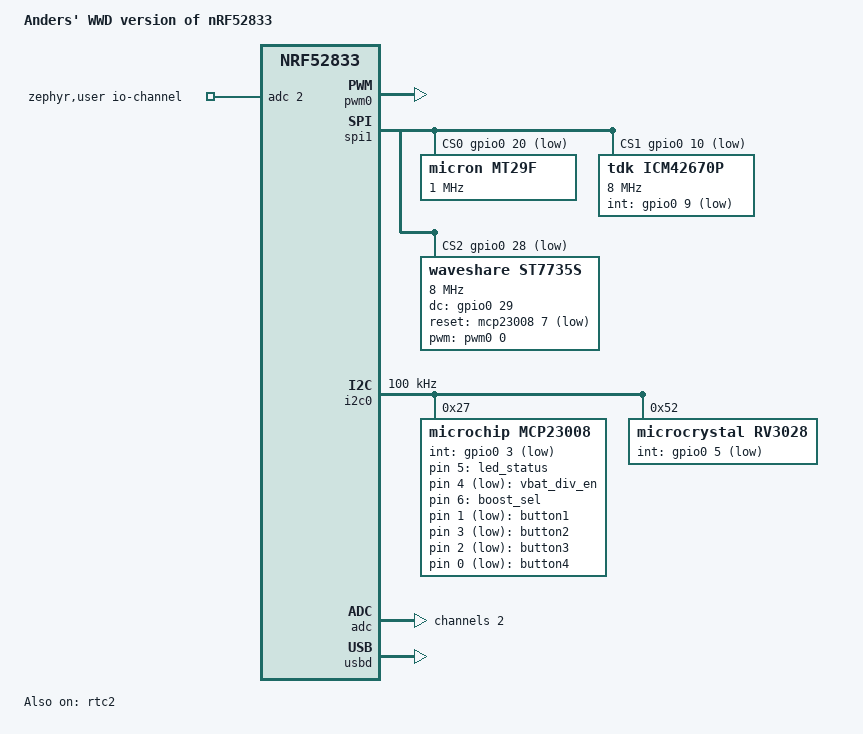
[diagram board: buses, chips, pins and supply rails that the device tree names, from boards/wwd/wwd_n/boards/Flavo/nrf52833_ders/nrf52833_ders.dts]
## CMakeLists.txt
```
cmake_minimum_required(VERSION 3.20.0)
find_package(Zephyr REQUIRED HINTS $ENV{ZEPHYR_BASE})
project(WWDn)

# Power-profiling harness (src/power_profile/power_profile_main.c) in place
# of the real app's src/main.c — see debug/power_profile/README.md.
# Build with: cmake ... -DPOWER_PROFILE_BUILD=ON
option(POWER_PROFILE_BUILD "Build the power-profiling harness instead of the real app" OFF)

# UI function test harness (test/test_uifunctions.c) in place of the real
# app's src/main.c — see test/README.md. Build with: cmake ... -DBUILD_UI_TESTS=ON
option(BUILD_UI_TESTS "Build the UI function test harness instead of the real app" OFF)

# VBAT-sweep hold mode for the power-profiling harness. Set to 0 or 1 to build
# an image that skips the scripted sequence and instead parks the board in one
# quiet state with BOOST_SEL held at that level, so the host can sweep VBAT
# underneath it. Empty (default) = run the normal 21-state sequence.
# Build with: cmake ... -DPOWER_PROFILE_BUILD=ON -DPOWER_PROFILE_BOOST_HOLD=1
# Additive attribution mode: start with nothing initialised and bring one
# subsystem up per dwell, to find what owns the idle floor.
# Build with: cmake ... -DPOWER_PROFILE_BUILD=ON -DPOWER_PROFILE_TEARDOWN=ON
option(POWER_PROFILE_TEARDOWN "Build the additive teardown/attribution image" OFF)

# Probe image: isolates what owns the idle floor (bare_spin vs bare_idle) and
# what the IMU gyro costs (accel_only vs accel_plus_gyro).
# Build with: cmake ... -DPOWER_PROFILE_BUILD=ON -DPOWER_PROFILE_PROBE=ON
option(POWER_PROFILE_PROBE "Build the idle-floor / gyro probe image" OFF)

# BLE image: cost of the advertiser (scripted) plus the cost of a live
# connection and data transfer (host-driven, board holds advertising).
# Build with: cmake ... -DPOWER_PROFILE_BUILD=ON -DPOWER_PROFILE_BLE=ON
option(POWER_PROFILE_BLE "Build the BLE advertising / connection power image" OFF)

set(POWER_PROFILE_BOOST_HOLD "" CACHE STRING
    "0 or 1 to build a BOOST_SEL hold-mode image for VBAT sweeps; empty = normal sequence")

# Include all headers under src
zephyr_include_directories(${CMAKE_CURRENT_SOURCE_DIR}/src)

# Collect all .c files recursively
file(GLOB_RECURSE SRC_FILES "${CMAKE_CURRENT_SOURCE_DIR}/src/*.c")

if(POWER_PROFILE_BUILD)
    target_sources(app PRIVATE src/power_profile/power_profile_main.c)
    if(POWER_PROFILE_PROBE)
        target_compile_definitions(app PRIVATE PP_PROBE=1)
    endif()
    if(POWER_PROFILE_TEARDOWN)
        target_compile_definitions(app PRIVATE PP_TEARDOWN=1)
    endif()
    if(POWER_PROFILE_BLE)
        target_compile_definitions(app PRIVATE PP_BLE=1)
    endif()
    if(NOT POWER_PROFILE_BOOST_HOLD STREQUAL "")
        target_compile_definitions(app PRIVATE PP_BOOST_HOLD=${POWER_PROFILE_BOOST_HOLD})
    endif()
elseif(BUILD_UI_TESTS)
    target_sources(app PRIVATE test/test_uifunctions.c)
else()
    target_sources(app PRIVATE src/main.c)
endif()

# Compile all of them
target_sources(app PRIVATE
    src/circular_buffer.c
    src/peripheral/clock.c
    src/peripheral/interrupt.c
    src/peripheral/timer.c
    src/peripheral/rtc.c
    src/peripheral/rv3028.c
    src/peripheral/rv3028_bringup.c
    src/peripheral/soc_temp.c
    src/activity/activity.c
    src/hardware/led.c
    src/hardware/button.c
    src/power/power.c
    src/power/low_power.c
    src/util/cdc_debug.c
    src/util/series.c
    src/util/steps_day.c
)

add_subdirectory(src/display)
add_subdirectory(src/memory)
add_subdirectory(src/ui)
add_subdirectory(src/hardware/ic/imu)
add_subdirectory(src/ble)
add_subdirectory(src/comm)
```

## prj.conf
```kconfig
# set clocking
# nRF52833 hardware has a 32kHz crystal on P0.00/P0.01 — use XTAL for accuracy.
# The board defconfig sets XTAL=y/RC=n, but prj.conf overrides take precedence,
# so these must be explicit here.
# BRING-UP 2026-07-23: the 32kHz crystal is NOT oscillating on this board —
# LFCLKSTAT reads SRC=RC and EVENTS_LFCLKSTARTED never fires, so boot hangs
# forever in lfclk_spinwait() at PRE_KERNEL_2 and never reaches main().
# Running on the internal RC until the XTAL is fixed in hardware.
# Restore these three lines once the crystal is verified:
#CONFIG_CLOCK_CONTROL_NRF_K32SRC_XTAL=y
#CONFIG_CLOCK_CONTROL_NRF_K32SRC_RC=n
#CONFIG_CLOCK_CONTROL_NRF_K32SRC_RC_CALIBRATION=n
# BRING-UP 2026-07-25: no crystal is populated on this board at all. Instead
# RV-3028 RTC_CLKOUT drives XL1 (P0.00) at 32.768 kHz — verified on SN2 by
# counting edges on P0.00 (~32.4 kHz measured, polling-loop error accounts for
# the shortfall) with CLKOUT reg 0x35 = 0xC0 (CLKOE=1, FD=0). CLKOUT is stored
# in the RV-3028's EEPROM, so it runs from POR without needing I2C first.
# FULL_SWING (not LOW_SWING) because CLKOUT is a push-pull CMOS output.
# Revert to the RC lines below if the LF source is ever lost.
# BRING-UP 2026-07-27: chased a silent boot hang most of a session, initially
# blamed on this EXT_FULL_SWING/CLKOUT hand-off (LFCLKSTAT was observed
# flipping SRC mid-run). Forcing RC + disabling RC_CALIBRATION here did NOT
# fix it — real cause turned out to be the MCP23008 driver's auto-init
# (see nrf52833_ders.dts, mcp23008 node disabled) corrupting a kernel
# spinlock when its I2C write NACKs (device not populated on this board).
# Restoring the original CLKOUT config now that the actual cause is disabled
# — see nvs_notes.md / thread_bringup_crash memory for the full story.
CONFIG_CLOCK_CONTROL_NRF_K32SRC_RC=n
CONFIG_CLOCK_CONTROL_NRF_K32SRC_XTAL=n
CONFIG_CLOCK_CONTROL_NRF_K32SRC_EXT_FULL_SWING=y
# BISECT 2026-07-27 (session 2): re-tested with RC_CALIBRATION=y now that
# MCP23008 is disabled — still hangs (same idle/spinlock signature, ~4s in,
# right after display_phase() before nvs_phase()). So RC calibration is a
# second, independent contributor, not just a red herring from the MCP bug.
# Leave off until this is understood separately.
CONFIG_CLOCK_CONTROL_NRF_K32SRC_RC_CALIBRATION=n
# The default clock startup policy is SYSTEM_CLOCK_WAIT_FOR_STABILITY, which
# spins in lfclk_spinwait() until the *target* source is the running one — that
# is what hung boot on 2026-07-23 with the dead crystal, and it would equally
# hang a board whose RV-3028 has no CLKOUT programmed yet.
# WAIT_FOR_AVAILABILITY instead uses nrfx's two-stage LFXO start: LFCLK comes up
# on the internal RC immediately, boot continues, and the hardware switches to
# RTC_CLKOUT when it is ready. If CLKOUT never appears the system just keeps
# running on the RC. One image boots any board, and clock_control still knows
# the real source — which matters for BLE's LF accuracy.
CONFIG_SYSTEM_CLOCK_WAIT_FOR_AVAILABILITY=y

# BISECT 2026-07-27 (session 2): even with MCP23008 disabled and RC_CALIBRATION
# off, a rare k_msleep()-never-wakes hang can still happen at effectively any
# sleep call site (caught one inside cdc_write()'s k_msleep(5), nothing
# special about it) — looks like a genuine race in the tickless-kernel RTC1
# tick/timeout path rather than anything driver-specific. Testing periodic
# tick instead of tickless to see if it sidesteps the race. Revert to
# tickless (delete this line) if it doesn't help — periodic ticking costs
# more power, only worth keeping if it actually fixes this.
CONFIG_TICKLESS_KERNEL=n

# Pinned explicitly (was an unset default that happened to resolve to 128)
# because dump_decoder.py in the companion wwd_gui_api repo hardcodes this
# rate to reconstruct seconds_since_boot from on-flash dt_ticks — a silent
# change here would desync that conversion again. See dump_decoder.py's
# TICKS_PER_SEC constant if this ever needs to change.
CONFIG_SYS_CLOCK_TICKS_PER_SEC=128

# enable peripherals
CONFIG_COUNTER=y
CONFIG_GPIO=y
CONFIG_SPI=y
CONFIG_I2C=y
CONFIG_ADC=y
CONFIG_NRFX_SAADC=y
CONFIG_PWM=y
CONFIG_RTC=y
CONFIG_RTC_RV3028=y
# CONFIG_SOC_NRF52832_ALLOW_SPIM_DESPITE_PAN_58=n

# USB CDC console (nRF52833 hardware — no UART pins on QDAA package)
# CONFIG_SERIAL=y is required to enable the UART subsystem that CDC ACM depends on,
# even though there is no physical UART on this board.
CONFIG_SERIAL=y
CONFIG_USB_DEVICE_STACK=y
CONFIG_USB_CDC_ACM=y
CONFIG_UART_LINE_CTRL=y
# cdc_acm_uart1 (src/comm/protocol.c binary command channel) needs interrupt-driven
# RX — the console on cdc_acm_uart0 stays polled/log-only and doesn't need this.
CONFIG_UART_INTERRUPT_DRIVEN=y
# BRING-UP 2026-07-23: init USB explicitly from main() instead of at boot, so the
# usb_enable() return code and the status callback can be logged. Restore to =y
# once enumeration is working:
#CONFIG_USB_DEVICE_INITIALIZE_AT_BOOT=y
CONFIG_USB_DEVICE_INITIALIZE_AT_BOOT=n

# enable console for output
CONFIG_CONSOLE=y
CONFIG_UART_CONSOLE=y
CONFIG_NEWLIB_LIBC=y
CONFIG_NEWLIB_LIBC_FLOAT_PRINTF=y

# configure log
CONFIG_LOG=y
# BRING-UP 2026-07-23: the console IS the USB CDC port, so it cannot report its
# own enumeration failure. Log over SEGGER RTT through the J-Link instead
# (read with: JLinkRTTClient, or debug/rtt_log.sh). Restore UART backend and
# drop the RTT block once USB CDC enumerates:
#CONFIG_LOG_BACKEND_UART=y
# NVS BRING-UP 2026-07-26: USB CDC is proven, and nvs_dump() output must be
# readable on the CDC console — UART backend restored per the note above.
# RTT kept as a second backend (was unreadable last session, but harmless).
CONFIG_LOG_BACKEND_UART=y
CONFIG_USE_SEGGER_RTT=y
CONFIG_LOG_BACKEND_RTT=y
# NVS BRING-UP 2026-07-26: USB DBG logs would feed back through the CDC log
# backend (log -> USB traffic -> more logs). Cut to ERR while logs ride USB:
#CONFIG_USB_DEVICE_LOG_LEVEL_DBG=y
#CONFIG_USB_DRIVER_LOG_LEVEL_DBG=y
CONFIG_USB_DEVICE_LOG_LEVEL_ERR=y
CONFIG_USB_DRIVER_LOG_LEVEL_ERR=y
    # log level (0=none, 1=ERR, 2=WRN, 3=INF, 4=DBG)
CONFIG_LOG_DEFAULT_LEVEL=3
CONFIG_KERNEL_LOG_LEVEL_INF=y
CONFIG_SPI_LOG_LEVEL_INF=y
#CONFIG_LOG_BUFFER_SIZE=2048

# enable higher-level systems
CONFIG_SENSOR=y
# nRF52833 on-die temperature sensor (src/peripheral/soc_temp.c). The `temp`
# node is already status="okay" in NCS's nrf52833.dtsi, so this Kconfig is the
# only thing needed — without it the device exists but never binds a driver.
CONFIG_TEMP_NRF5=y
CONFIG_DISPLAY=n

# Bluetooth — uncomment to enable; call ble_init() in main.c
# CONFIG_BT=y
# CONFIG_BT_PERIPHERAL=y
# CONFIG_BT_DEVICE_NAME="WWD"
# CONFIG_BT_DEVICE_APPEARANCE=192
# CONFIG_BT_MAX_CONN=1
# CONFIG_BT_SMP=y

# ENABLED 2026-08-25 (src/ble/ble.c). The block above is kept verbatim as the
# original intent note; the live settings follow. Measured cost on this tree:
# +136 KB flash, +17.7 KB RAM. It only fits because prj.conf is -Os now — on
# the old unoptimized build the image overflowed the 512 KB part and would not
# link at all.
CONFIG_BT=y
CONFIG_BT_PERIPHERAL=y
CONFIG_BT_DEVICE_NAME="WWD-n"
CONFIG_BT_DEVICE_APPEARANCE=192
CONFIG_BT_MAX_CONN=1
# Peripheral only — this device never scans or connects outward, and dropping
# the central role saves flash.
CONFIG_BT_CENTRAL=n
CONFIG_BT_OBSERVER=n
# GATT server with a custom service; needs writable attributes for the
# time-set characteristic.
CONFIG_BT_GATT_DYNAMIC_DB=n
# No pairing/bonding yet: nothing here is sensitive, and SMP costs flash and a
# UX (passkey entry) this device has no keypad for. Revisit before the
# time-set characteristic is trusted from an untrusted phone.
CONFIG_BT_SMP=n
# Long enough for the 19-byte status notification in one packet.
CONFIG_BT_BUF_ACL_TX_SIZE=27
CONFIG_BT_L2CAP_TX_MTU=23
# BLE's own threads. Left at defaults deliberately — see debug/stack_budget.md
# for why stack sizes on this project are measured, not guessed; re-run
# stackcheck.conf after enabling this.

# enable kernel features for RTOS threading
CONFIG_POLL=y

# enable CRC for NVS metadata integrity
CONFIG_CRC=y

# enable heap memory allocation for k_malloc
CONFIG_HEAP_MEM_POOL_SIZE=4096


# BRING-UP 2026-07-23: default 1024 overflowed during POST_KERNEL/APPLICATION
# driver init (USB device stack + SPI + I2C/MCP23008) with NO_OPTIMIZATIONS=y —
# stack sentinel tripped with PC inside z_main_stack before main() ever ran.
CONFIG_MAIN_STACK_SIZE=4096

# BRING-UP 2026-07-23 (afternoon): same disease as MAIN_STACK_SIZE above — the USB
# workqueue threads overflow their default 1024 B stacks with NO_OPTIMIZATIONS=y +
# USB DBG logging. Usage fault with the exception frame at the bottom of
# usbd_work_queue_stack, then an assert/log recursion wedge, all before USBPULLUP
# is ever set (board is bus-powered, so VBUS events start the instant usb_enable()
# runs). Defaults are likely fine once NO_OPTIMIZATIONS/DBG logging are reverted.
CONFIG_USB_WORKQUEUE_STACK_SIZE=4096
CONFIG_USB_NRFX_WORK_QUEUE_STACK_SIZE=4096

# 2026-08-01: same disease as the USB workqueue bumps above, this time on the
# default SYSTEM workqueue. The MCP23008 GPIO driver defers its interrupt
# handling (mcp23xxx_work_handler — I2C reads to figure out which button pin
# changed, dispatch the per-pin callback) onto k_sys_work_q, whose default
# stack (~1024 B) overflows under NO_OPTIMIZATIONS. Caught live via GDB:
# CFSR=0x92 (MemManage, MSTKERR — MPU stack-guard hit during exception
# stacking), MMFAR pointing at the very base of sys_work_q_stack. This is
# the actual cause of the board resetting on every real button press —
# button_handler_thread/ui_refresh_thread stack bumps and display-code
# locking earlier today were legitimate fixes for other latent bugs but
# didn't touch this thread.
CONFIG_SYSTEM_WORKQUEUE_STACK_SIZE=4096

# fucking memory debug
CONFIG_STACK_SENTINEL=y
CONFIG_ASSERT=y
CONFIG_THREAD_STACK_INFO=y
CONFIG_THREAD_MONITOR=y
CONFIG_ASSERT_VERBOSE=y
CONFIG_INIT_STACKS=y # this one is for printing thread stack space (or one of ones required?)


# Build with debug symbols
# PRODUCTION BUILD 2026-08-24: these two are now the DEBUG setting, not the
# default. Measured on this tree at e13f8aa: NO_OPTIMIZATIONS costs 212 KB of
# flash (403,453 B / 77.0% of the part, vs 190,560 B / 36.4% at -Os) and burns
# CPU continuously. It also makes BLE physically impossible — the BT peripheral
# stack is +136 KB, and 403K + 136K overflows the 512 KB part, so it will not
# link. Restore these two lines (or better, build with debug.conf, which does
# exactly that) whenever single-stepping matters more than size:
#CONFIG_DEBUG_OPTIMIZATIONS=y
#CONFIG_NO_OPTIMIZATIONS=y
#
# -Os rather than -O2: flash is the constrained resource here, not cycles.
# The stack-usage risk this creates is real and is why the "fucking memory
# debug" block above (STACK_SENTINEL / ASSERT / INIT_STACKS) stays ON in
# production for now — those are the net under exactly this change. See
# debug/stack_budget.md for the measured high-water marks.
CONFIG_SIZE_OPTIMIZATIONS=y

# Internal-flash settings store (src/memory/config_store.c).
# Rate config used to live on the MT29F's CONFIG blocks, which meant a chip
# erase destroyed it and boards without a working NAND (SN1, SN2) could not
# persist settings at all. It now lives in the storage_partition already
# declared in the board DTS (24 KB @ 0x7a000, previously unused), so the NAND
# is data only.
# Deliberately NOT CONFIG_NVS: this project has its own nvs_*() API for the
# NAND logger, and pulling Zephyr's in alongside it invites name confusion.
CONFIG_FLASH=y
CONFIG_FLASH_MAP=y
CONFIG_MPU_ALLOW_FLASH_WRITE=y
```

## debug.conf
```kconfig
# debug.conf — overlay that restores the pre-2026-08-24 unoptimized build.
#
# prj.conf is now the production baseline (CONFIG_SIZE_OPTIMIZATIONS=y). Layer
# this on top whenever you need to single-step: at -Os, GCC reorders and inlines
# aggressively, locals live in registers rather than on the stack, and GDB will
# report <optimized out> for variables that were readable before.
#
#   cmake -B build_dbg -DBOARD=nrf52833_ders/nrf52833 \
#         -DBOARD_ROOT=/home/anders/Documents/NCS/WWD-n \
#         -DEXTRA_CONF_FILE=debug.conf -GNinja
#   cmake --build build_dbg
#
# Cost, measured on tree e13f8aa: +212 KB of flash (36.4% -> 77.0% of the part).
# A build with this overlay CANNOT also enable Bluetooth — the two together
# overflow the 512 KB part and will not link.
#
# CLAUDE.md's "always do a pristine build" rule applies: use a separate build
# directory rather than reconfiguring an existing one.

CONFIG_SIZE_OPTIMIZATIONS=n
CONFIG_DEBUG_OPTIMIZATIONS=y
CONFIG_NO_OPTIMIZATIONS=y
```

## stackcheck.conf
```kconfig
# stackcheck.conf — overlay that reports live thread stack high-water marks.
#
# Layer this on ANY build whose stack budget you want to validate — most
# importantly after changing optimization level, which shifts stack usage and
# has caused a hard-to-diagnose overflow on this project before (see
# CONFIG_SYSTEM_WORKQUEUE_STACK_SIZE and CONFIG_MAIN_STACK_SIZE in prj.conf,
# both of which exist because of exactly that).
#
#   cmake -B build_stackcheck -DBOARD=nrf52833_ders/nrf52833 \
#         -DBOARD_ROOT=/home/anders/Documents/NCS/WWD-n \
#         -DEXTRA_CONF_FILE=stackcheck.conf -GNinja
#   cmake --build build_stackcheck
#
# The analyzer prints every thread — including the ones the application does
# not create (main, idle, sysworkq, the two USB workqueues, logging) — every
# 15 s over the console. Those system threads are the ones that bit us before,
# so read the whole table, not just the four app threads.
#
# Exercise the device while it runs: press every button, walk the whole menu,
# let the display sleep and wake, run a USB dump. Peak stack is only as high as
# the deepest path you actually took.
#
# This overlay costs flash and RAM of its own (~2 KB stack for the analyzer
# thread) — it is a measurement tool, never part of a shipped image.

CONFIG_THREAD_NAME=y
CONFIG_THREAD_ANALYZER=y
CONFIG_THREAD_ANALYZER_USE_LOG=y
CONFIG_THREAD_ANALYZER_AUTO=y
CONFIG_THREAD_ANALYZER_AUTO_INTERVAL=15
CONFIG_THREAD_ANALYZER_AUTO_STACK_SIZE=2048

# RTT up-buffer: the default 1024 B with NO_BLOCK_SKIP silently DROPS most of
# the analyzer's burst (measured 2026-08-24 on SN1 — only 1 of ~6 report cycles
# survived, and individual threads went missing from the table mid-report).
# The analyzer prints two lines per thread across ~11 threads at once, which is
# several KB in one go. 8192 costs RAM this build has spare.
CONFIG_SEGGER_RTT_BUFFER_SIZE_UP=8192

# Log buffer: the REAL reason analyzer rows go missing (diagnosed 2026-08-24 on
# SN1 — ui_refresh and button_handler were absent from every report while
# sensor_update and protocol appeared, with "--- N messages dropped ---" in the
# stream). The default 1024 B cannot hold one analyzer burst, so Zephyr's
# logging subsystem drops the tail of each report BEFORE it reaches any backend.
# Widening RTT alone does not fix this. prj.conf keeps a commented-out
# CONFIG_LOG_BUFFER_SIZE=2048 line; 2048 is still not enough for this burst.
CONFIG_LOG_BUFFER_SIZE=8192
```

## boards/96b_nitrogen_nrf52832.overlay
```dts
&spi1 {
    mt29f: mt29f@0 {
        compatible = "micron,mt29f";
        reg = <0>;
        label = "MT29F";
        spi-max-frequency = <4000000>;
        frame-format = <0>;
        status = "okay";
    };

    icm42670p: icm42670p@1 {
        compatible = "tdk,icm42670p";
		// compatible = "invensense,icm42670p";
		reg = <1>;
		spi-max-frequency = <4000000>; /* Reduced to 8MHz for stability */
        int-gpios = <&gpio0 9 GPIO_ACTIVE_HIGH>, <&gpio0 3 GPIO_ACTIVE_HIGH>;

		/* Required properties based on binding file */
        // TODO: have these actually do something?
		accel-hz = <100>;    /* Reduced to 100 Hz for initial testing */
		gyro-hz = <100>;     /* Reduced to 100 Hz for initial testing */
		accel-fs = <2>;      /* Reduced to ±2g for initial testing */
		gyro-fs = <250>;     /* Reduced to 250 dps for initial testing */

        status = "okay";
	};

    st7789v2: st7789v2@2 {
        compatible = "waveshare,st7789v2";
        reg = <2>;
        spi-max-frequency = <8000000>;
        dc-gpios = <&gpio0 22 GPIO_ACTIVE_HIGH>;
        reset-gpios = <&gpio0 24 GPIO_ACTIVE_LOW>;
        bl-gpios = <&gpio0 1 GPIO_ACTIVE_HIGH>;
        status = "okay";
    };

    st7735s: st7735s@3 {
        // compatible = "sitronix,st7735r";
        compatible = "waveshare,st7735s";
        reg = <3>;
        spi-max-frequency = <8000000>;
        dc-gpios = <&gpio0 30 GPIO_ACTIVE_HIGH>;
        reset-gpios = <&gpio0 31 GPIO_ACTIVE_LOW>;
        // width = <128>;
        // height = <160>;
        // x-offset = <0>;
        // y-offset = <0>;
        // madctl = <0x60>;
        // colmod = <0x55>;
        // caset = [00 00 00 4F];
        // raset = [00 00 00 9F];
        // vmctr1 = <0x0e>;
        // invctr = <0x07>;
        // pwctr1 = [a2 02 84];
        // pwctr2 = [c5];
        // pwctr3 = [0a 00];
        // pwctr4 = [8a 2a];
        // pwctr5 = [8a ee];
        // frmctr1 = [01 2c 2d];
        // frmctr2 = [01 2c 2d];
        // frmctr3 = [01 2c 2d 01 2c 2d];
        // gamctrp1 = [02 1c 07 12 37 32 29 2d 29 25 2b 39 00 01 03 10];
        // gamctrn1 = [03 1d 07 06 2e 2c 29 2d 2e 2e 37 3f 00 00 02 10];
        // inversion-on;
        status = "okay";
        };

    status = "okay";
};


&spi1_default {
    group1 {
        psels = <NRF_PSEL(SPIM_SCK, 0, 5)>,
                <NRF_PSEL(SPIM_MOSI, 0, 6)>,
                <NRF_PSEL(SPIM_MISO, 0, 8)>;
    };
};



&rtc2 {
    status = "okay";
};
```

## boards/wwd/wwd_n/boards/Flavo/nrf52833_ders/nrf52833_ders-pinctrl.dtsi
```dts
/* SPDX-License-Identifier: Apache-2.0 */

#include <dt-bindings/pinctrl/nrf-pinctrl.h>

&pinctrl {
	/* SPI1: SCK=P0.31, MOSI=P0.17, MISO=P0.15 */
	spi1_default: spi1_default {
		group1 {
			psels = <NRF_PSEL(SPIM_SCK,  0, 31)>,
			        <NRF_PSEL(SPIM_MOSI, 0, 17)>,
			        <NRF_PSEL(SPIM_MISO, 0, 15)>;
		};
	};
	spi1_sleep: spi1_sleep {
		group1 {
			psels = <NRF_PSEL(SPIM_SCK,  0, 31)>,
			        <NRF_PSEL(SPIM_MOSI, 0, 17)>,
			        <NRF_PSEL(SPIM_MISO, 0, 15)>;
			low-power-enable;
		};
	};

	/* I2C0: SCL=P0.30, SDA=P1.09 */
	i2c0_default: i2c0_default {
		group1 {
			psels = <NRF_PSEL(TWIM_SCL, 0, 30)>,
			        <NRF_PSEL(TWIM_SDA, 1,  9)>;
		};
	};
	i2c0_sleep: i2c0_sleep {
		group1 {
			psels = <NRF_PSEL(TWIM_SCL, 0, 30)>,
			        <NRF_PSEL(TWIM_SDA, 1,  9)>;
			low-power-enable;
		};
	};

	/* PWM0: DISP_LED_PWM = P0.11, gate of the display backlight NMOS */
	pwm0_default: pwm0_default {
		group1 {
			psels = <NRF_PSEL(PWM_OUT0, 0, 11)>;
		};
	};
	pwm0_sleep: pwm0_sleep {
		group1 {
			psels = <NRF_PSEL(PWM_OUT0, 0, 11)>;
			low-power-enable;
		};
	};
};
```

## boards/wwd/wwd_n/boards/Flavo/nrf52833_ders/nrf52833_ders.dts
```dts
/dts-v1/;
#include <nordic/nrf52833_qdaa.dtsi>
#include <dt-bindings/pwm/pwm.h>
#include "nrf52833_ders-pinctrl.dtsi"

/ {
	model = "Anders' WWD version of nRF52833";
	compatible = "Flavo,nrf52833-ders";

	chosen {
		zephyr,sram        = &sram0;
		zephyr,flash       = &flash0;
		zephyr,code-partition = &slot0_partition;
		zephyr,console     = &cdc_acm_uart0;
		zephyr,shell-uart  = &cdc_acm_uart0;
	};

	aliases {
		watchdog0 = &wdt0;
		display0  = &st7735s;
		led0      = &led_status;
		led1      = &led_status;
		led2      = &led_status;
	};

	leds {
		compatible = "gpio-leds";
		led_status: led_status {
			gpios = <&mcp23008 5 GPIO_ACTIVE_HIGH>;  /* LED1 MCP23008 GP5 */
		};
	};

	power_ctrl {
		compatible = "gpio-leds";
		vbat_div_en: vbat_div_en {
			/* VBAT_DIV_GPIO GP4 IS the divider's bottom leg directly — no FET.
			 * "Asserted" (ACTIVE_LOW here) means the pin is driven low,
			 * grounding the bottom leg to complete the divider for a sample.
			 * Idle state must be high-impedance (input), not driven high or
			 * low, or it either leaks VBAT->GND continuously through both
			 * legs or injects 3.3V into the divider node — see power.c. */
			gpios = <&mcp23008 4 GPIO_ACTIVE_LOW>;
		};
		boost_sel: boost_sel {
			gpios = <&mcp23008 6 GPIO_ACTIVE_HIGH>;  /* BOOST_SEL GP6: TPS63900 mode select */
		};
	};

	zephyr,user {
		io-channels = <&adc 2>;  /* AIN2 = P0.04: battery voltage divider output */
	};

	buttons {
		compatible = "gpio-keys";
		button1: button1 {
			gpios = <&mcp23008 1 (GPIO_PULL_UP | GPIO_ACTIVE_LOW)>;  /* BUTTON1 GP1 */
		};
		/* BUTTON2/BUTTON3 were swapped here vs. the physical board: empirically
		 * verified 2026-08-04 by pressing each labeled SW1-4 one at a time and
		 * reading back button_poll()'s live bitmask over UART - physical SW2
		 * lands on GP3 and physical SW3 lands on GP2, not GP2/GP3 respectively
		 * as originally assumed (see project_button_press_reset_rootcause.md /
		 * button-combo investigation). This is why the SW3+SW4 "return home"
		 * combo (ui.c) never fired - pressing physical SW3+SW4 produced
		 * BUTTON_2_MASK|BUTTON_4_MASK, not the BUTTON_3_MASK|BUTTON_4_MASK the
		 * code checks for. Swapping the pin numbers here (not the code) keeps
		 * BUTTON_2_MASK/BUTTON_3_MASK meaning what their name and every
		 * comment elsewhere in the codebase already assumes they mean. */
		button2: button2 {
			gpios = <&mcp23008 3 (GPIO_PULL_UP | GPIO_ACTIVE_LOW)>;  /* BUTTON2 GP3 - physical SW2, see comment above */
		};
		button3: button3 {
			gpios = <&mcp23008 2 (GPIO_PULL_UP | GPIO_ACTIVE_LOW)>;  /* BUTTON3 GP2 - physical SW3, see comment above */
		};
		button4: button4 {
			gpios = <&mcp23008 0 (GPIO_PULL_UP | GPIO_ACTIVE_LOW)>;  /* BUTTON4 GP0 */
		};
	};
};

/* nRESET on P0.18 */
&uicr {
	/* RE-ENABLED 2026-08-01: root cause of the button-press reset found and
	 * fixed — k_sys_work_q stack overflow (CONFIG_SYSTEM_WORKQUEUE_STACK_SIZE
	 * in prj.conf), unrelated to this pin. See prj.conf comment for the
	 * full story. Safe to restore. */
	gpio-as-nreset;

	/* P0.09 and P0.10 are the NFC antenna pins (NFC1/NFC2) and come up in NFC
	 * mode, not as GPIOs. Both are used by the IMU here — P0.10 is its SPI chip
	 * select and P0.09 is INT1 — so without this the IMU is unreachable: CS
	 * reads stuck low and never frames a transaction. */
	nfct-pins-as-gpios;
};

/* RTC2: 1-second tick source (RTC0 reserved for BLE, RTC1 is kernel timer) */
&rtc2 {
	status = "okay";
};

&gpiote {
	status = "okay";
};

&gpio0 {
	status = "okay";
};

&gpio1 {
	status = "okay";
};

/* PWM0: display backlight (DISP_LED_PWM, P0.11) drives the gate of the
 * LCD-power NMOS. Full duty cycle = gate held high = 100% brightness. */
&pwm0 {
	status = "okay";
	pinctrl-0 = <&pwm0_default>;
	pinctrl-1 = <&pwm0_sleep>;
	pinctrl-names = "default", "sleep";
};

/* SPI1: flash, IMU, display */
&spi1 {
	compatible = "nordic,nrf-spim";
	status = "okay";
	pinctrl-0 = <&spi1_default>;
	pinctrl-1 = <&spi1_sleep>;
	pinctrl-names = "default", "sleep";

	/* CS: NVS flash P0.20, IMU P0.10, display P0.28 */
	cs-gpios = <&gpio0 20 GPIO_ACTIVE_LOW>,
	           <&gpio0 10 GPIO_ACTIVE_LOW>,
	           <&gpio0 28 GPIO_ACTIVE_LOW>;

	mt29f: mt29f@0 {
		compatible = "micron,mt29f";
		reg = <0>;
		spi-max-frequency = <1000000>;
		frame-format = <0>;
		status = "okay";
	};

	icm42670p: icm42670p@1 {
		compatible = "tdk,icm42670p";
		reg = <1>;
		spi-max-frequency = <8000000>;
		int-gpios = <&gpio0 9 GPIO_ACTIVE_LOW>;   /* IMU_INT1 P0.09 */
		accel-hz = <100>;
		gyro-hz  = <100>;
		accel-fs = <2>;
		gyro-fs  = <250>;
		status = "okay";
	};

	st7735s: st7735s@2 {
		compatible = "waveshare,st7735s";
		reg = <2>;
		spi-max-frequency = <8000000>;
		dc-gpios    = <&gpio0    29 GPIO_ACTIVE_HIGH>;  /* DISP_DC P0.29 */
		reset-gpios = <&mcp23008 7 GPIO_ACTIVE_LOW>;   /* DISP_RESET MCP23008 GP7 */
		pwms        = <&pwm0 0 PWM_USEC(100) PWM_POLARITY_NORMAL>; /* DISP_LED_PWM P0.11, 10 kHz */
		status = "okay";
	};
};

/* I2C0: MCP23008 GPIO expander (buttons, LED, display reset, boost) */
&i2c0 {
	compatible = "nordic,nrf-twim";
	status = "okay";
	pinctrl-0 = <&i2c0_default>;
	pinctrl-1 = <&i2c0_sleep>;
	pinctrl-names = "default", "sleep";
	clock-frequency = <I2C_BITRATE_STANDARD>;

	mcp23008: mcp23008@27 {
		compatible = "microchip,mcp23008";
		/* A0/A1/A2 are tied to VCC (along with RESET) via a 10k on this
		 * board's rework, not to GND as originally designed — that puts
		 * the strap bits at 1:1:1, giving 0x20 | 0x07 = 0x27 instead of
		 * the schematic's 0x20. Confirmed via live I2C bus scan
		 * (ACK 0x27, not 0x20) 2026-08-01. */
		reg = <0x27>;
		gpio-controller;
		#gpio-cells = <2>;
		ngpios = <8>;
		int-gpios = <&gpio0 3 GPIO_ACTIVE_LOW>;   /* IO_INT P0.03 */
		/* Re-enabled 2026-07-29 to prep for the MCP23008 that's been ordered
		 * (ETA a couple days from 2026-07-29) — DO NOT FLASH THIS TO HARDWARE
		 * UNTIL THE CHIP IS PHYSICALLY SOLDERED. The 2026-07-27 bisection
		 * found this node's auto-init (GPIO_MCP230XX, POST_KERNEL) corrupts a
		 * kernel spinlock when its I2C write NACKs — i.e. enabling this
		 * against an unpopulated chip hangs the whole boot, not just a benign
		 * per-pin failure. See project_mcp23008_bringup memory. */
		status = "okay";
	};

	rv3028: rv3028@52 {
		compatible = "microcrystal,rv3028";
		reg = <0x52>;
		/* VBACKUP is wired directly to VBAT (2.8-4.5 V), NOT a coin cell as
		 * originally assumed. Against the regulated 3.3 V VDD that means
		 * VBACKUP > VDD for most of the battery's range.
		 *
		 * DSM ("direct") switches to VBACKUP the moment VDD < VBACKUP, so the
		 * part sat in backup mode permanently on a charged battery — and in
		 * backup mode it powers down I2C, so it never ACKed at 0x52.
		 * rtc_wait_ready() then timed out, device_init() failed, rv3028_init()
		 * nulled its handle, and rv3028_get_time() returned {0,0,0} forever:
		 * the display froze at 00:00:00 / THU 01-01-2026.
		 *
		 * LSM ("level") only switches when VDD itself collapses below
		 * VTH:LSM (2.0 V), which is the actual intent here — keep time off
		 * VBAT when the 3.3 V rail is down, stay on VDD (and answer I2C)
		 * whenever it is up. */
		backup-switch-mode = "level";
		int-gpios = <&gpio0 5 GPIO_ACTIVE_LOW>;   /* RTC_INT P0.05 */
		/* RTC_CLKOUT is wired to XL1 (P0.00) — no crystal is populated on
		 * this board, so this is the intended LF clock source. The driver
		 * stores this in the RV-3028's EEPROM, so CLKOUT comes up from POR
		 * without needing I2C first. Omitting this property drives CLKOUT
		 * LOW, which would leave the SoC with no LF source at all. */
		clkout-frequency = <32768>;
		/* The RV-3028 does not respond on I2C this early after a cold
		 * power-on, so the automatic POST_KERNEL init fails with -ENODEV
		 * and Zephyr latches that failure permanently (do_device_init()
		 * sets initialized=true even on error, so device_init() then
		 * returns -EALREADY). Defer the bind and let the application call
		 * device_init() once the part is awake. */
		zephyr,deferred-init;
		status = "okay";
	};
};

/* ADC: battery voltage sense on AIN2 (P0.04), 1:2 divider, enable via VBAT_DIV_GPIO (MCP23008 GP4) */
&adc {
	status = "okay";
	#address-cells = <1>;
	#size-cells = <0>;

	channel@2 {
		reg = <2>;
		zephyr,gain = "ADC_GAIN_1_6";
		zephyr,reference = "ADC_REF_INTERNAL";
		zephyr,acquisition-time = <ADC_ACQ_TIME_DEFAULT>;
		zephyr,input-positive = <NRF_SAADC_AIN2>;  /* P0.04 */
		/* zephyr,resolution is optional in the binding but defaults to 0 if
		 * omitted, which adc_sequence_init_dt() passes straight through to
		 * the SAADC driver — a 0-bit request is rejected with -EINVAL.
		 * battery_voltage_mv() swallows that error and returns 0, which is
		 * why the display always showed 0.00V. 12-bit is the SAADC's native
		 * max resolution on nRF52. */
		zephyr,resolution = <12>;
	};
};

/* USB CDC console — D+/D- are hardware pins, no pinctrl needed.
 * Two ACM instances on one composite USB device: uart0 stays the
 * human-readable console/shell/log stream exactly as before; uart1 is a
 * second, independent /dev/ttyACM* the host uses purely for the binary
 * host<->device command protocol (src/comm/protocol.[ch]), so command
 * framing never has to coexist with interleaved log text on the wire. */
zephyr_udc0: &usbd {
	compatible = "nordic,nrf-usbd";
	status = "okay";

	cdc_acm_uart0: cdc_acm_uart0 {
		compatible = "zephyr,cdc-acm-uart";
	};

	cdc_acm_uart1: cdc_acm_uart1 {
		compatible = "zephyr,cdc-acm-uart";
		/* Without this, cdc_acm_poll_out() (subsys/usb/device/class/cdc_acm.c)
		 * silently DISCARDS bytes once its 1024-byte TX ring buffer
		 * (CONFIG_USB_CDC_ACM_RINGBUF_SIZE) fills faster than the USB
		 * workqueue drains it — no error, no log after the first
		 * LOG_WRN_ONCE. DUMP_DATA frames are ~2188 B, over double that
		 * buffer, so this is exactly what caused intermittent CRC
		 * mismatches on the host (device logs showed correct, fast
		 * transmission every time; the bytes were dropped downstream of
		 * our own code, invisibly). With this set, poll_out() blocks and
		 * retries every 1ms instead of dropping — see protocol_notes.md.
		 */
		hw-flow-control;
	};
};

&flash0 {
	partitions {
		compatible = "fixed-partitions";
		#address-cells = <1>;
		#size-cells = <1>;

		boot_partition: partition@0 {
			label = "mcuboot";
			reg = <0x00000000 DT_SIZE_K(48)>;
		};

		slot0_partition: partition@c000 {
			label = "image-0";
			reg = <0x0000c000 DT_SIZE_K(220)>;
		};

		slot1_partition: partition@43000 {
			label = "image-1";
			reg = <0x00043000 DT_SIZE_K(220)>;
		};

		storage_partition: partition@7a000 {
			label = "storage";
			reg = <0x0007a000 DT_SIZE_K(24)>;
		};
	};
};
```

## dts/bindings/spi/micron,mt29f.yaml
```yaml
description: This binding provides a raw SPI interface to the Micron MT29F NAND SPI flash family.

compatible: "micron,mt29f"

include: [spi-device.yaml]



      
```

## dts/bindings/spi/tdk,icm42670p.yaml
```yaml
description: This binding provides a raw SPI interface to the TDK ICM-42670-P IMU.

compatible: "tdk,icm42670p"

include: [spi-device.yaml]


properties:
  int-gpios:
    type: phandle-array
    required: true
  accel-hz:
    type: int
    required: true
  gyro-hz:
    type: int
    required: true
  accel-fs:
    type: int
    required: true
  gyro-fs:
    type: int
    required: true
```

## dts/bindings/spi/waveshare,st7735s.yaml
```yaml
description: This binding provides a raw SPI interface to the 1.69inch LCD module from waveshare, using the ST7789V2 LCD controller

compatible: "waveshare,st7735s"


properties:
  dc-gpios:
    type: phandle-array
    required: true
  reset-gpios:
    type: phandle-array
    required: true
  pwms:
    type: phandle-array
    description: Backlight NMOS gate drive (DISP_LED_PWM)
  # bl-gpios:
  #   type: phandle-array
  #   required: true


include: [spi-device.yaml]



      
```

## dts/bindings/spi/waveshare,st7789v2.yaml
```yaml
description: This binding provides a raw SPI interface to the 1.69inch LCD module from waveshare, using the ST7789V2 LCD controller

compatible: "waveshare,st7789v2"


properties:
  dc-gpios:
    type: phandle-array
    required: true
  reset-gpios:
    type: phandle-array
    required: true
  bl-gpios:
    type: phandle-array
    required: true


include: [spi-device.yaml]



      
```

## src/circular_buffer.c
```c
//*****************************************************************************
//!
//! @file wwd.c
//! @author Joe Krachey, Anders Bandt
//! @brief Impelmentation of a circular buffer
//! @version 0.9
//! @date August 25th, 2024
//!
//*****************************************************************************

/////////////////////////////////////////////////////////////////////////////////////////////////////////////////////////////
//! -----------------------------------------------------------------------------------------------------------------------//
//! HEADER FILES ----------------------------------------------------------------------------------------------------------//
//! -----------------------------------------------------------------------------------------------------------------------//
/////////////////////////////////////////////////////////////////////////////////////////////////////////////////////////////

/* Standard C99 stuff */
#include <stdint.h>
#include <stddef.h>
#include <unistd.h>
#include <string.h>

/* Driver header files */


/* My header files */
#include "circular_buffer.h"



Circular_Buffer * circular_buffer_init(size_t capacity, size_t sz)
{
    Circular_Buffer *cb = malloc(sizeof(Circular_Buffer));
    cb->buffer = malloc(capacity * sz);
    if (cb->buffer == NULL) {
        free(cb);
        return NULL;
    }
    cb->buffer_end = (char *)cb->buffer + capacity * sz;
    cb->capacity = capacity;
    cb->count = 0;
    cb->sz = sz;
    cb->head = cb->buffer;
    cb->tail = cb->buffer;
    return cb;
}



void circular_buffer_add(Circular_Buffer *cb, const void *item)
{
    if(cb->count == cb->capacity) {
        return;
        // handle error
    }
    memcpy(cb->head, item, cb->sz);
    cb->head = (char*)cb->head + cb->sz;
    if(cb->head == cb->buffer_end) {
        cb->head = cb->buffer;
    }
    cb->count++;
}


void circular_buffer_remove(Circular_Buffer *cb, void *item)
{
    if(cb->count == 0){
        return;
        // handle error
    }
    memcpy(item, cb->tail, cb->sz);
    cb->tail = (char*)cb->tail + cb->sz;
    if(cb->tail == cb->buffer_end)
        cb->tail = cb->buffer;
    cb->count--;
}


size_t circular_buffer_get_count(Circular_Buffer *cb) {
    return cb->count;
}


int circular_buffer_get_tail(Circular_Buffer *cb) {
    return (int)cb->tail;
}


//*****************************************************************************
// Returns true if the circular buffer is empty.  Returns false if it is not.
//
// Parameters
//    buffer  :   The address of the circular buffer.
//*****************************************************************************
bool circular_buffer_empty(Circular_Buffer *buffer)
{
    return buffer->count == 0;
}


//*****************************************************************************
// Returns true if the circular buffer is full.  Returns false if it is not.
//
// Parameters
//    buffer  :   The address of the circular buffer.
//*****************************************************************************
bool circular_buffer_full(Circular_Buffer *buffer)
{
    return buffer->count == buffer->capacity;
}


//*****************************************************************************
// Returns a circular buffer to the heap
//
// Parameters
//    buffer  :   The address of the circular buffer.
//*****************************************************************************
void circular_buffer_delete(Circular_Buffer * buffer)
{
   free((void *)buffer->buffer);
   free(buffer);
}

//*****************************************************************************
// Clears all elements from the circular buffer.
//
// Parameters
//    buffer  :   The address of the circular buffer.
//*****************************************************************************
void circular_buffer_clear(Circular_Buffer *buffer)
{
    if (buffer == NULL) {
        return;
    }
    buffer->count = 0;
    buffer->head = buffer->buffer;
    buffer->tail = buffer->buffer;
}



//*****************************************************************************
// Initializes a circular buffer.
//
// Parameters
//    max_size:   Number of entries in the circular buffer.
//*****************************************************************************
//Circular_Buffer * circular_buffer_init(uint16_t max_size, size_t num_bytes)
//{
//   Circular_Buffer *buffer = malloc(sizeof(Circular_Buffer));
//   buffer->max_size = max_size;
//   buffer->sz = num_bytes;
//   buffer->produce_count = 0;
//   buffer->consume_count = 0;
//
//   // allocate data elements
//   buffer->data = malloc(max_size * num_bytes);
//   if (buffer->data == 0) {
//       return 0;
//   }
//
//   return buffer;
//}



//*****************************************************************************
// Adds a character to the circular buffer.
//
// Parameters
//    buffer  :   The address of the circular buffer.
//    c       :   Character to add.
//*******************************************************************************
//bool circular_buffer_add(Circular_Buffer *buffer, void *c)
//{
//    // If the circular buffer is full, return false.
//    if (circular_buffer_full(buffer)) {
//        return false;
//    }
//
////    https://stackoverflow.com/questions/827691/how-do-you-implement-a-circular-buffer-in-c
////    memcpy(buffer->data[buffer->produce_count % buffer->max_size], c, buffer->sz);
//
//    // Add the data to the circular buffer
//    //    *(buffer->data + buffer->produce_count) = c;
////    buffer->data[buffer->produce_count % buffer->max_size] = c;     // ChatGPT option with modulo operation    // ChatGPT option with modulo operation */
//
//    // Increment produce_count
//    (buffer->produce_count)++;
//
//    // Return true to indicate that the data was added
//    return true;
//}

//*****************************************************************************
// Removes the oldest character from the circular buffer.
//
// Parameters
//    buffer  :   The address of the circular buffer.
//
// Returns
//    The character removed from the circular buffer.  If the circular buffer
//    is empty, the value of the character returned is set to 0.
//*****************************************************************************
//void * circular_buffer_remove(Circular_Buffer *buffer)
//{
//    void * return_int;
//
//    // If the circular buffer is empty, return 0.
//    if (circular_buffer_empty(buffer)) {
//      return 0;
//    }
//
//    // remove the character from the circular buffer
////    return_int = *(buffer->data + buffer->consume_count);
//    // Remove the character from the circular buffer using modulo operation
//    return_int = buffer->data[buffer->consume_count % buffer->max_size];
//
//    // below line is optional, depending on requirements
//    // basically just sets the first element of the buffer to be reset 0
////    *(buffer->data) = 0;
//
//    // increment consume count
//    (buffer->consume_count)++;
//
//    // return the character
//    return return_int;
//}



/******************************************************************************
 * Circular Buffer Test 0
 *
 * Description:
 *  1. Create a circular buffer based on the size passed into the test function
 *  2. Add data to the circular buffer until it is full using a for loop.  Each time
 *     the for loop is executed, add loop count to the circular buffer.
 *  3. Verify that adding an additional byte of data fails
 *  4. Remove the data one byte at a time and verify the data removed matches
 *     the expected value
 *  5. Return the circular buffer to the heap.
 *
 ******************************************************************************/
//bool circular_buffer_test_0(int16_t size)
//{
//    Circular_Buffer *test_buffer;
//    int i ;
//    char data;
//    bool return_status;
//
//    // create a new circular buffer
//    test_buffer = circular_buffer_init(size);
//
//
//    // Using a for loop, Add the value of i to the circular buffer
//    // until it is full.
//    for(i = 0; i < size; i++)
//    {
//        // Add the next byte of data
//        bool added = circular_buffer_add(test_buffer, (char)i);
//
//        // If the data was not added, return the circular
//        // buffer to the heap and return false
//        if (!added) {
//            circular_buffer_delete(test_buffer);
//            return false;
//        }
//    }
//
//    // Verify that the buffer is full. If it is not full
//    // return the circular buffer to the heap and return false
//    if (!circular_buffer_full(test_buffer)) {
//        circular_buffer_delete(test_buffer);
//        return false;
//    }
//
//    // validate that you cannot add data to the circular buffer
//    // after it is full.  If the return value is is equal to true,
//    // return the circular buffer to the heap and return false.
//    bool added = circular_buffer_add(test_buffer, 'a');
//    if (added) {
//        circular_buffer_delete(test_buffer);
//        return false;
//    }
//
//
//    // remove the data from the circular buffer one byte at a time
//    for(i = 0; i < size; i++)
//    {
//        // Remove the next byte of data
//        char removed = circular_buffer_remove(test_buffer);
//
//        // Verify that the value returned. If the value returned
//        // is not correct, return the circular buffer to the heap
//        // and return false
//        if (removed != (char)i) {
//            circular_buffer_delete(test_buffer);
//            return false;
//        }
//
//    }
//
//    // Verify that the buffer is empty. If it is not empty
//    // return the circular buffer to the heap and return false
//    if (!circular_buffer_empty(test_buffer)) {
//        circular_buffer_delete(test_buffer);
//        return false;
//    }
//
//    // return the circular buffer to the heap.
//    circular_buffer_delete(test_buffer);
//    // success!!
//    return true;
//
//}
```

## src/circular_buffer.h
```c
/*
 * Circular_Buffer.h
 *
 *  Created on: Aug 25, 2020
 *      Author: Joe Krachey
 */

#ifndef Circular_Buffer_H_
#define Circular_Buffer_H_

#include <stdbool.h>
#include <stdint.h>
#include <stdlib.h>


typedef struct circular_buffer
{
    void *buffer;     // data buffer
    void *buffer_end; // end of data buffer
    size_t capacity;  // maximum number of items in the buffer
    size_t count;     // number of items in the buffer
    size_t sz;        // size of each item in the buffer
    void *head;       // pointer to head
    void *tail;       // pointer to tail
} Circular_Buffer;

//typedef struct {
//    uint32_t produce_count;
//    uint32_t consume_count;
//    uint16_t max_size;
//    size_t sz;
//    void **data;
//} Circular_Buffer ;


//*****************************************************************************
// Initializes a circular buffer.
//
//      1. Initialize the produce_count
//      2. Initialize the consume_count
//      3. Initialize the max_size
//      4. malloc enough memory from the heap for the data array
//
// Parameters
//    buffer  :   The address of the circular buffer.
//    max_size:   Number of entries in the circular buffer.
//*****************************************************************************
//Circular_Buffer * circular_buffer_init(uint16_t max_size, size_t num_bytes);
Circular_Buffer * circular_buffer_init(size_t capacity, size_t sz);

//*****************************************************************************
// Returns a circular buffer to the heap
//
// Parameters
//    buffer  :   The address of the circular buffer.
//*****************************************************************************
void circular_buffer_delete(Circular_Buffer * buffer);

//*****************************************************************************
// Adds a character to the circular buffer.
//
// Parameters
//    buffer  :   The address of the circular buffer.
//    c       :   Character to add.
//*******************************************************************************
//bool circular_buffer_add(Circular_Buffer *buffer, void * c);
void circular_buffer_add(Circular_Buffer *cb, const void *item);

//*****************************************************************************
// Removes the oldest character from the circular buffer.
//
// Parameters
//    buffer  :   The address of the circular buffer.
//*****************************************************************************
//void * circular_buffer_remove(Circular_Buffer *buffer);
void circular_buffer_remove(Circular_Buffer *cb, void *item);

//*****************************************************************************
// Returns true if the circular buffer is empty.  Returns false if it is not.
//
// Parameters
//    buffer  :   The address of the circular buffer.
//*****************************************************************************
bool circular_buffer_empty(Circular_Buffer *buffer);

//*****************************************************************************
// Returns true if the circular buffer is full.  Returns false if it is not.
//
// Parameters
//    buffer  :   The address of the circular buffer.
//*****************************************************************************
bool circular_buffer_full(Circular_Buffer *buffer);

//*****************************************************************************
// Clears all elements from the circular buffer.
//
// Parameters
//    buffer  :   The address of the circular buffer.
//*****************************************************************************
void circular_buffer_clear(Circular_Buffer *buffer);

size_t circular_buffer_get_count(Circular_Buffer *cb);


int circular_buffer_get_tail(Circular_Buffer *cb);


/******************************************************************************
 * Circular Buffer Test 1
 *
 * Description:
 *  1. Create a circular buffer based on the size passed into the test function
 *  2. Add data to the circular buffer until it is full using a for loop.  The
 *     data added to the circular buffer should match the index of the for
 *     loop.
 *  3. Verify that adding an additional byte of data fails
 *  4. Remove the data one byte at a time and verify the data removed matches
 *     the expected value
 *  5. Return the circular buffer to the heap.
 *
 ******************************************************************************/
/* bool circular_buffer_test_0(int16_t size); */


#endif /* circular_buffer_H_ */
```

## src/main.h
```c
#ifndef SRC_MAIN_H_
#define SRC_MAIN_H_

/* Parks every background application thread (sensor_update, ui_refresh,
 * button_handler — UI updates, IMU FIFO drain, temp/anchor logging) at their
 * own wake boundary for the duration of a flash maintenance operation
 * (DUMP/ERASE), so the CPU only runs the protocol thread's own work and none
 * of them contend for the SPI1 bus shared with the NAND driver. See the
 * bg_pause_active/bg_park_if_paused() comments in main.c for why this is a
 * cooperative handshake rather than k_thread_suspend(). */
void app_pause_background_threads(void);
void app_resume_background_threads(void);

#endif /* SRC_MAIN_H_ */
```
